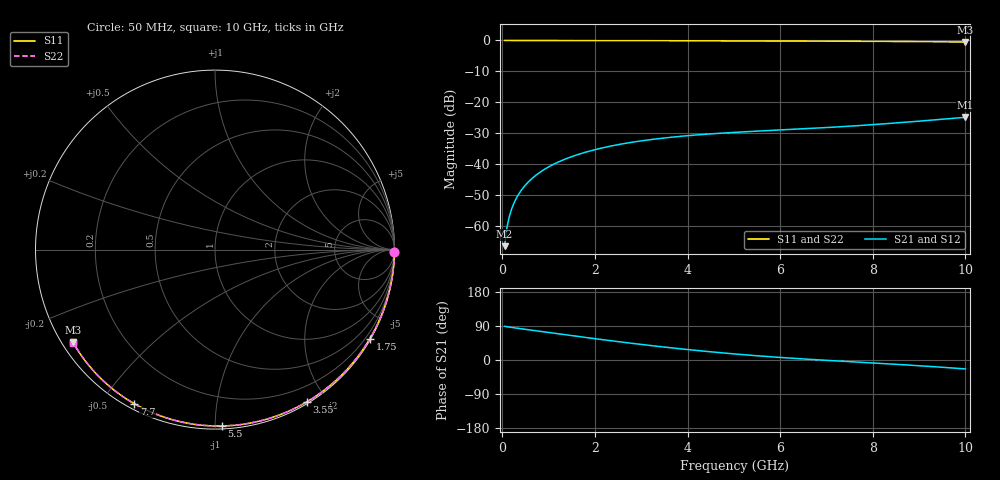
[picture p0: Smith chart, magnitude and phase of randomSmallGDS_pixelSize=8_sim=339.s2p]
! freq	dB(S11)	phase(S11)	dB(S12)	phase(S12)
!  dB(S21)	phase(S21)	dB(S22)	phase(S22)
!S-par simulation data
#  GHz  S  DB  R 50
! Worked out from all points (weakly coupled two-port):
!   200 points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, 50 MHz to 10 GHz, reference 50 ohm
!   highest |S21| = -24.91 dB at 10 GHz (marker M1); lowest = -66.7 dB at 50 MHz (marker M2)
!   lowest |S11| = -0.5 dB at 10 GHz (marker M3), VSWR 35.37, Z = 1.54 - j14.8 ohm
!   |S11| at or under -10 dB: nowhere
!   |S22| runs from -0.5 to 0.0 dB; largest |S21 - S12| = 0
!   S11 on the Smith chart (normalised r, x): 50 MHz: open; 1.75 GHz: 0.03, -3.75; 3.55 GHz: 0.02, -1.77; 5.5 GHz: 0.02, -1.04; 7.7 GHz: 0.02, -0.61; 10 GHz: 0.03, -0.30
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0.05  -0.00 -0.9  -66.69 88.9  -66.69 88.9  -0.00 -0.9
0.1  -0.00 -1.7  -60.68 87.9  -60.68 87.9  -0.00 -1.7
0.15  -0.00 -2.6  -57.19 86.9  -57.19 86.9  -0.00 -2.6
0.2  -0.00 -3.5  -54.71 86.0  -54.71 86.0  -0.00 -3.5
0.25  -0.00 -4.3  -52.80 85.1  -52.80 85.1  -0.00 -4.3
0.35  -0.00 -6.1  -49.92 83.4  -49.92 83.4  -0.00 -6.1
0.5  -0.01 -8.7  -46.87 80.9  -46.87 80.9  -0.01 -8.7
0.7  -0.01 -12.1  -44.00 77.6  -44.00 77.6  -0.01 -12.1
1  -0.02 -17.2  -40.99 72.6  -40.99 72.6  -0.02 -17.2
1.35  -0.03 -23.2  -38.51 66.8  -38.51 66.8  -0.03 -23.1
1.75  -0.04 -29.9  -36.43 60.3  -36.43 60.3  -0.04 -29.8
2.5  -0.06 -42.3  -33.78 48.5  -33.78 48.5  -0.06 -42.2
3.4  -0.08 -56.6  -31.78 35.5  -31.78 35.5  -0.08 -56.5
3.55  -0.08 -59.0  -31.53 33.4  -31.53 33.4  -0.08 -58.9
4.3  -0.10 -70.4  -30.51 23.9  -30.51 23.9  -0.10 -70.3
5.05  -0.13 -81.5  -29.76 15.6  -29.76 15.6  -0.13 -81.3
5.5  -0.14 -87.9  -29.39 11.2  -29.39 11.2  -0.14 -87.7
6.7  -0.20 -104.4  -28.48 1.3  -28.48 1.3  -0.20 -104.2
7.7  -0.27 -117.6  -27.60 -5.7  -27.60 -5.7  -0.27 -117.4
8.35  -0.32 -126.0  -26.91 -10.3  -26.91 -10.3  -0.32 -125.7
9.2  -0.40 -136.8  -25.92 -16.7  -25.92 -16.7  -0.40 -136.5
10  -0.49 -146.9  -24.91 -23.5  -24.91 -23.5  -0.49 -146.7
